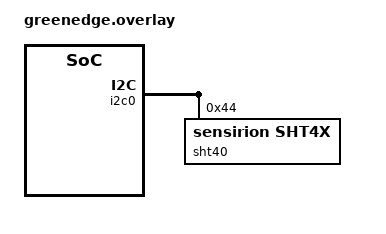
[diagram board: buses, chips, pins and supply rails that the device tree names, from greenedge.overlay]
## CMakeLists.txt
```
#set(BOARD esp32c6_devkitc)

cmake_minimum_required(VERSION 3.20.0)

set(BOARD esp32c6_devkitc/esp32c6/hpcore)

set(DTC_OVERLAY_FILE "${CMAKE_CURRENT_SOURCE_DIR}/greenedge.overlay")

find_package(Zephyr REQUIRED HINTS $ENV{ZEPHYR_BASE})
project(GreenEdge)

target_include_directories(app PRIVATE include)

# Selección de backend según Kconfig:
#   CONFIG_GREENEDGE_SENSOR_REAL=y  -> sensor_sht40.c (hardware real)
#   CONFIG_GREENEDGE_SENSOR_REAL=n  -> sensor.c       (simulado)
if(CONFIG_GREENEDGE_SENSOR_REAL)
    target_sources(app PRIVATE src/sensor_sht40.c)
else()
    target_sources(app PRIVATE src/sensor.c)
endif()

target_sources(app PRIVATE
    src/main.c
    src/sensor_thread.c
    src/shell_cmds.c
    src/wifi_manager.c
    src/wifi_shell_cmds.c
)
```

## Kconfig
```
mainmenu "GreenEdge"

source "Kconfig.zephyr"

menu "GreenEdge"

config GREENEDGE_SENSOR_REAL
    bool "Usar sensor SHT40 real via I2C"
    depends on I2C && SHT4X
    default n
    help
      Habilita la lectura real del sensor Sensirion SHT40 via I2C.
      Si está deshabilitado, se usa el backend simulado.

endmenu
```

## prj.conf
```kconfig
# =============================================================================
# GreenEdge — prj.conf
# =============================================================================

# -----------------------------------------------------------------------------
# Serial / Console
# -----------------------------------------------------------------------------
CONFIG_SERIAL=y
CONFIG_CONSOLE=y

# -----------------------------------------------------------------------------
# Shell
# -----------------------------------------------------------------------------
CONFIG_SHELL=y
CONFIG_LOG_CMDS=y

# -----------------------------------------------------------------------------
# Logging
# -----------------------------------------------------------------------------
CONFIG_LOG=y
CONFIG_SENSOR_LOG_LEVEL_DBG=y

# -----------------------------------------------------------------------------
# Sensors / 1-Wire
# -----------------------------------------------------------------------------
CONFIG_W1=y
CONFIG_SENSOR=y
CONFIG_GPIO=y

# --- I2C ---
CONFIG_I2C=y
CONFIG_I2C_LOG_LEVEL_ERR=y
 
# --- SHT4x driver (Sensirion SHT40/SHT41/SHT45) ---
CONFIG_SHT4X=y

CONFIG_GREENEDGE_SENSOR_REAL=y

# -----------------------------------------------------------------------------
# WiFi (ESP32-C6 native driver via hal_espressif)
# -----------------------------------------------------------------------------
CONFIG_WIFI=y
CONFIG_HEAP_MEM_POOL_SIZE=98304

# Networking stack
CONFIG_NETWORKING=y
CONFIG_NET_L2_WIFI_MGMT=y
CONFIG_NET_IPV4=y
CONFIG_NET_DHCPV4=y
CONFIG_NET_TCP=y
CONFIG_NET_UDP=y
CONFIG_NET_SOCKETS=y

# DNS
CONFIG_DNS_RESOLVER=y
CONFIG_DNS_SERVER_IP_ADDRESSES=y
CONFIG_DNS_SERVER1="8.8.8.8"

# Network management events (required for wifi_manager)
CONFIG_NET_MGMT=y
CONFIG_NET_MGMT_EVENT=y
CONFIG_NET_MGMT_EVENT_STACK_SIZE=1024

# Shell WiFi commands
CONFIG_NET_SHELL=y

# -----------------------------------------------------------------------------
# Settings API (persistent storage in flash)
# -----------------------------------------------------------------------------
CONFIG_SETTINGS=y
CONFIG_SETTINGS_NVS=y
CONFIG_NVS=y
CONFIG_FLASH=y
CONFIG_FLASH_MAP=y
CONFIG_MPU_ALLOW_FLASH_WRITE=y
```

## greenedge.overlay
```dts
/*
 * GreenEdge - Board overlay
 * SHT40 en I2C0 (GPIO6=SDA, GPIO7=SCL — coincide con el default del board)
 */

#include <zephyr/dt-bindings/i2c/i2c.h>

&i2c0 {
    sht40: sht4x@44 {
        compatible = "sensirion,sht4x";
        reg = <0x44>;
        repeatability = <2>;
    };
};
```

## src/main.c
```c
#include <zephyr/kernel.h>
#include <zephyr/logging/log.h>
#include "sensors.h"
#include "sensor_thread.h"
#include "wifi_manager.h"

LOG_MODULE_REGISTER(app, LOG_LEVEL_INF);

int main(void)
{
    LOG_INF("GreenEdge starting");

    sensor_thread_start();

        /* Initialize WiFi manager (loads credentials from flash) */
    int rc = wifi_manager_init();
    if (rc) {
        LOG_WRN("WiFi manager init failed: %d", rc);
    } else {
        /* Auto-connect if credentials exist */
        wifi_manager_connect();
    }

    return 0;
}
```

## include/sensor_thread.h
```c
/**
 * @file sensor_thread.h
 * @brief Sensor thread management interface
 */

#ifndef SENSOR_THREAD_H
#define SENSOR_THREAD_H

/**
 * @brief Start the sensor thread
 * 
 * Initializes and starts the sensor reading thread.
 * This thread will wait for trigger signals to perform readings.
 */
void sensor_thread_start(void);

/**
 * @brief Trigger a sensor reading
 * 
 * Signals the sensor thread to perform a new reading.
 * Non-blocking call.
 */
void sensor_thread_trigger(void);

/**
 * @brief Start periodic sensor readings
 * 
 * @param period_ms Period in milliseconds between readings
 */
void sensor_thread_start_periodic(uint32_t period_ms);

/**
 * @brief Stop periodic sensor readings
 */
void sensor_thread_stop_periodic(void);

#endif /* SENSOR_THREAD_H */
```

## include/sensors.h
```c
/**
 * @file sensors.h
 * @brief Sensor data management interface
 * 
 * This module provides thread-safe access to sensor data
 */

#ifndef SENSORS_H
#define SENSORS_H

#include <stdint.h>

/**
 * @brief Sensor data structure
 */
struct sensor_data {
    int temperature;  /**< Temperature in Celsius */
    int humidity;     /**< Humidity in percentage */
    bool    valid;        /**< true si la última lectura fue exitosa */
};

/**
 * @brief Initialize sensor subsystem
 * 
 * Must be called before any other sensor function
 */
int sensors_init(void);

/**
 * @brief Read current sensor values (simulated)
 * 
 * This function updates the internal sensor state.
 * Thread-safe when called from sensor thread.
 * 
 * @param data Pointer to sensor data structure to update
 */
int sensors_read(void);

/**
 * @brief Get current sensor values (thread-safe)
 * 
 * This function provides thread-safe access to sensor data
 * from any context (shell, other threads, etc.)
 * 
 * @param data Pointer to sensor data structure to fill
 */
void sensors_get(struct sensor_data *data);

/**
 * @brief Trigger a sensor reading
 * 
 * Wakes up the sensor thread to perform a new reading
 */
void sensors_trigger_read(void);

#endif /* SENSORS_H */
```

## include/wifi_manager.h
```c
/**
 * @file wifi_manager.h
 * @brief WiFi connection manager with persistent credentials
 */

#ifndef WIFI_MANAGER_H
#define WIFI_MANAGER_H

#include <stdint.h>
#include <stdbool.h>

#define WIFI_SSID_MAX_LEN   32
#define WIFI_PSK_MAX_LEN    64

/**
 * @brief WiFi manager connection states
 * Prefixed with MGR_ to avoid collision with Zephyr's wifi_iface_state enum
 */
enum wifi_manager_state {
    MGR_WIFI_DISCONNECTED,
    MGR_WIFI_CONNECTING,
    MGR_WIFI_CONNECTED,
    MGR_WIFI_ERROR,
};

int  wifi_manager_init(void);
int  wifi_manager_connect(void);
void wifi_manager_disconnect(void);
int  wifi_manager_set_credentials(const char *ssid, const char *psk);
enum wifi_manager_state wifi_manager_get_state(void);
bool wifi_manager_is_connected(void);

#endif /* WIFI_MANAGER_H */
```

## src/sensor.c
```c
/**
 * @file sensor.c
 * @brief Sensor data management implementation
 */

#include <zephyr/kernel.h>
#include <zephyr/logging/log.h>
#include "sensors.h"

LOG_MODULE_REGISTER(sensors, LOG_LEVEL_DBG);

/* Private data - only accessed through public API */
static struct sensor_data sensors;
static struct k_mutex sensors_mutex;

int sensors_init(void)
{
    k_mutex_init(&sensors_mutex);

    /* Initialize with default values */
    k_mutex_lock(&sensors_mutex, K_FOREVER);
    sensors.temperature = 20;
    sensors.humidity = 50;
    sensors.valid = false;
    k_mutex_unlock(&sensors_mutex);

    LOG_INF("Sensors initialized (T=%d, H=%d)", 
            sensors.temperature, sensors.humidity);
    return 0;
}

int sensors_read(void)
{
    /* Simulate sensor reading with incremental values */
    sensors.temperature += 1;
    sensors.humidity += 2;

    /* Wrap around to simulate realistic sensor behavior */
    if (sensors.temperature > 30) {
        sensors.temperature = 20;
    }

    if (sensors.humidity > 80) {
        sensors.humidity = 50;
    }
    sensors.valid = true;

    LOG_DBG("Sensor read: T=%d, H=%d", sensors.temperature, sensors.humidity);

    return 0;
}

int sensors_get(struct sensor_data *data)
{
    if (data == NULL) {
        LOG_ERR("NULL pointer passed to sensors_get");
        return;
    }

    k_mutex_lock(&sensors_mutex, K_FOREVER);
    data->temperature = sensors.temperature;
    data->humidity = sensors.humidity;
    data->valid = sensors.valid;
    k_mutex_unlock(&sensors_mutex);
}
```

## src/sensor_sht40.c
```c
/**
 * @file sensor_sht40.c
 * @brief Backend real para el sensor Sensirion SHT40 via I2C
 *
 * Implementa la interfaz de sensors.h usando el driver nativo
 * de Zephyr para la familia SHT4x (SHT40/SHT41/SHT45).
 *
 * Requiere en el devicetree:
 *   - &i2c0 habilitado con GPIO6=SDA, GPIO7=SCL
 *   - Nodo sht4x@44 con compatible = "sensirion,sht4x"
 *
 * Activado cuando CONFIG_GREENEDGE_SENSOR_REAL=y.
 */

#include <zephyr/kernel.h>
#include <zephyr/device.h>
#include <zephyr/drivers/sensor.h>
#include <zephyr/logging/log.h>
#include "sensors.h"

LOG_MODULE_REGISTER(sensor_sht40, LOG_LEVEL_DBG);

/* Estado compartido */
static struct sensor_data g_sensors;
static struct k_mutex     g_sensors_mutex;

/* Referencia al dispositivo SHT40 */
static const struct device *sht40_dev;

int sensors_init(void)
{
    k_mutex_init(&g_sensors_mutex);

    g_sensors.temperature = 0;
    g_sensors.humidity    = 0;
    g_sensors.valid       = false;

    sht40_dev = DEVICE_DT_GET_ANY(sensirion_sht4x);

    if (sht40_dev == NULL) {
        LOG_ERR("SHT40: no se encontró el dispositivo en el devicetree");
        return -ENODEV;
    }

    if (!device_is_ready(sht40_dev)) {
        LOG_ERR("SHT40: dispositivo '%s' no está listo", sht40_dev->name);
        return -ENODEV;
    }

    LOG_INF("SHT40 inicializado: %s", sht40_dev->name);
    return 0;
}

int sensors_read(void)
{
    struct sensor_value temp, hum;
    struct sensor_data local;
    int ret;

    ret = sensor_sample_fetch(sht40_dev);
    if (ret != 0) {
        LOG_ERR("SHT40: sensor_sample_fetch() falló: %d", ret);
        goto fail;
    }

    ret = sensor_channel_get(sht40_dev, SENSOR_CHAN_AMBIENT_TEMP, &temp);
    if (ret != 0) {
        LOG_ERR("SHT40: channel_get(TEMP) falló: %d", ret);
        goto fail;
    }

    ret = sensor_channel_get(sht40_dev, SENSOR_CHAN_HUMIDITY, &hum);
    if (ret != 0) {
        LOG_ERR("SHT40: channel_get(HUM) falló: %d", ret);
        goto fail;
    }

    /*
     * sensor_value: val1 = parte entera, val2 = parte fraccionaria en millonésimas
     * Convertimos a centidegrees: val1*100 + val2/10000
     * Ejemplo: {23, 500000} -> 2350 (23.50°C)
     */
    local.temperature = (int32_t)(temp.val1 * 100 + temp.val2 / 10000);
    local.humidity    = (int32_t)(hum.val1  * 100 + hum.val2  / 10000);
    local.valid       = true;

    k_mutex_lock(&g_sensors_mutex, K_FOREVER);
    g_sensors = local;
    k_mutex_unlock(&g_sensors_mutex);

    LOG_DBG("SHT40: T=%d.%02d°C  H=%d.%02d%%",
            local.temperature / 100, abs(local.temperature % 100),
            local.humidity    / 100, abs(local.humidity    % 100));

    return 0;

fail:
    k_mutex_lock(&g_sensors_mutex, K_FOREVER);
    g_sensors.valid = false;
    k_mutex_unlock(&g_sensors_mutex);

    return ret;
}

void sensors_get(struct sensor_data *data)
{
    if (data == NULL) {
        LOG_ERR("NULL pointer en sensors_get");
        return;
    }

    k_mutex_lock(&g_sensors_mutex, K_FOREVER);
    *data = g_sensors;
    k_mutex_unlock(&g_sensors_mutex);
}
```

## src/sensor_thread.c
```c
/**
 * @file sensor_thread.c
 * @brief Sensor thread implementation
 */

#include <zephyr/kernel.h>
#include <zephyr/logging/log.h>
#include <stdlib.h>
#include "sensors.h"
#include "sensor_thread.h"

LOG_MODULE_REGISTER(sensor_thread, LOG_LEVEL_INF);

#define SENSOR_STACK_SIZE 2048
#define SENSOR_PRIORITY   5

/* Thread control */
K_THREAD_STACK_DEFINE(sensor_stack, SENSOR_STACK_SIZE);
static struct k_thread sensor_thread_data;
static struct k_sem    sensor_sem;

/* Periodic reading control */
static struct k_timer sensor_timer;
static bool           periodic_enabled;

/* Forward declarations */
static void sensor_thread_entry(void *a, void *b, void *c);
static void sensor_timer_handler(struct k_timer *timer);

static void sensor_thread_entry(void *a, void *b, void *c)
{
    ARG_UNUSED(a);
    ARG_UNUSED(b);
    ARG_UNUSED(c);

    struct sensor_data local;
    int ret;

    LOG_INF("Sensor thread iniciado");

    while (1) {
        k_sem_take(&sensor_sem, K_FOREVER);

        ret = sensors_read();

        if (ret == 0) {
            sensors_get(&local);
            LOG_INF("T=%d.%02d°C  H=%d.%02d%%",
                    local.temperature / 100, abs(local.temperature % 100),
                    local.humidity    / 100, abs(local.humidity    % 100));
        } else {
            LOG_WRN("Error en lectura de sensores: %d", ret);
        }
    }
}

static void sensor_timer_handler(struct k_timer *timer)
{
    ARG_UNUSED(timer);

    if (periodic_enabled) {
        k_sem_give(&sensor_sem);
    }
}

void sensor_thread_start(void)
{
    LOG_INF("Inicializando sensor thread");

    int ret = sensors_init();
    if (ret != 0) {
        LOG_ERR("sensors_init() falló: %d - continuando en modo degradado", ret);
    }

    k_sem_init(&sensor_sem, 0, 1);
    k_timer_init(&sensor_timer, sensor_timer_handler, NULL);

    k_thread_create(
        &sensor_thread_data,
        sensor_stack,
        K_THREAD_STACK_SIZEOF(sensor_stack),
        sensor_thread_entry,
        NULL, NULL, NULL,
        SENSOR_PRIORITY,
        0,
        K_NO_WAIT
    );

    k_thread_name_set(&sensor_thread_data, "sensor");

    LOG_INF("Sensor thread listo");
}

void sensor_thread_trigger(void)
{
    k_sem_give(&sensor_sem);
}

void sensor_thread_start_periodic(uint32_t period_ms)
{
    if (period_ms < 1000) {
        LOG_WRN("El SHT40 necesita mínimo ~1000ms entre lecturas de alta repetibilidad");
        period_ms = 1000;
    }

    periodic_enabled = true;
    k_timer_start(&sensor_timer, K_MSEC(period_ms), K_MSEC(period_ms));
    LOG_INF("Lecturas periódicas: %u ms", period_ms);
}

void sensor_thread_stop_periodic(void)
{
    periodic_enabled = false;
    k_timer_stop(&sensor_timer);
    LOG_INF("Lecturas periódicas detenidas");
}
```

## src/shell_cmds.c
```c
/**
 * @file shell_cmds.c
 * @brief Shell command implementations
 */

#include <stdlib.h>
#include <zephyr/shell/shell.h>
#include <zephyr/kernel.h>
#include "sensors.h"
#include "sensor_thread.h"

static int cmd_data(const struct shell *sh, size_t argc, char **argv)
{
    ARG_UNUSED(argc);
    ARG_UNUSED(argv);

    struct sensor_data data;

    sensors_get(&data);

    shell_print(sh, "=== Sensor Data ===");

    if (!data.valid) {
        shell_warn(sh, "Datos aún no disponibles (esperando primera lectura)");
        return 0;
    }

    shell_print(sh, "Temperatura: %d.%02d °C",
                data.temperature / 100,
                abs(data.temperature % 100));
    shell_print(sh, "Humedad    : %d.%02d %%",
                data.humidity / 100,
                abs(data.humidity % 100));

    return 0;
}

static int cmd_read(const struct shell *sh, size_t argc, char **argv)
{
    ARG_UNUSED(argc);
    ARG_UNUSED(argv);

    sensor_thread_trigger();
    shell_print(sh, "Lectura disparada...");

    /* Dar tiempo al thread para completar la lectura */
    k_sleep(K_MSEC(200));

    return cmd_data(sh, 0, NULL);
}

static int cmd_status(const struct shell *sh, size_t argc, char **argv)
{
    ARG_UNUSED(argc);
    ARG_UNUSED(argv);

    shell_print(sh, "=== System Status ===");
    shell_print(sh, "Uptime: %lld ms", k_uptime_get());
    shell_print(sh, "Cycles: %llu",    k_cycle_get_64());

    return 0;
}

static int cmd_start_periodic(const struct shell *sh, size_t argc, char **argv)
{
    uint32_t period_ms = 5000; /* Default: 5 segundos (razonable para un invernadero) */

    if (argc > 1) {
        period_ms = (uint32_t)atoi(argv[1]);
        if (period_ms < 1000) {
            shell_error(sh, "Mínimo 1000 ms (limitación del SHT40 en modo alta repetibilidad)");
            return -EINVAL;
        }
    }

    sensor_thread_start_periodic(period_ms);
    shell_print(sh, "Lecturas periódicas iniciadas: %u ms", period_ms);

    return 0;
}

static int cmd_stop_periodic(const struct shell *sh, size_t argc, char **argv)
{
    ARG_UNUSED(argc);
    ARG_UNUSED(argv);

    sensor_thread_stop_periodic();
    shell_print(sh, "Lecturas periódicas detenidas");

    return 0;
}

/* Registro de comandos */
SHELL_CMD_REGISTER(data,  NULL, "Mostrar datos del sensor",              cmd_data);
SHELL_CMD_REGISTER(read,  NULL, "Forzar lectura del sensor",             cmd_read);
SHELL_CMD_REGISTER(status,NULL, "Estado del sistema",                    cmd_status);
SHELL_CMD_REGISTER(start, NULL, "Iniciar lecturas periódicas [ms]",      cmd_start_periodic);
SHELL_CMD_REGISTER(stop,  NULL, "Detener lecturas periódicas",           cmd_stop_periodic);
```

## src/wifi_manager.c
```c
/**
 * @file wifi_manager.c
 * @brief WiFi manager implementation
 *
 * Credentials stored under settings subtree "wifi":
 *   wifi/ssid  -> SSID string
 *   wifi/psk   -> Password string
 */

#include <zephyr/kernel.h>
#include <zephyr/logging/log.h>
#include <zephyr/net/net_if.h>
#include <zephyr/net/net_event.h>
#include <zephyr/net/wifi_mgmt.h>
#include <zephyr/settings/settings.h>
#include <string.h>
#include <errno.h>

#include "wifi_manager.h"

LOG_MODULE_REGISTER(wifi_manager, LOG_LEVEL_INF);

/* ------------------------------------------------------------------ */
/* Private state                                                        */
/* ------------------------------------------------------------------ */

static char stored_ssid[WIFI_SSID_MAX_LEN + 1];
static char stored_psk[WIFI_PSK_MAX_LEN + 1];

static enum wifi_manager_state state = MGR_WIFI_DISCONNECTED;
static struct net_mgmt_event_callback wifi_cb;
static struct net_mgmt_event_callback ipv4_cb;

static struct k_work_delayable reconnect_work;

/* ------------------------------------------------------------------ */
/* Settings backend                                                     */
/* ------------------------------------------------------------------ */

static int wifi_settings_set(const char *name, size_t len,
                              settings_read_cb read_cb, void *cb_arg)
{
    if (strcmp(name, "ssid") == 0) {
        if (len > WIFI_SSID_MAX_LEN) {
            LOG_WRN("Stored SSID too long, ignoring");
            return -EINVAL;
        }
        ssize_t rc = read_cb(cb_arg, stored_ssid, len);
        if (rc >= 0) {
            stored_ssid[rc] = '\0';
            LOG_INF("Loaded SSID: %s", stored_ssid);
        }
        return (rc >= 0) ? 0 : (int)rc;
    }

    if (strcmp(name, "psk") == 0) {
        if (len > WIFI_PSK_MAX_LEN) {
            LOG_WRN("Stored PSK too long, ignoring");
            return -EINVAL;
        }
        ssize_t rc = read_cb(cb_arg, stored_psk, len);
        if (rc >= 0) {
            stored_psk[rc] = '\0';
            LOG_DBG("Loaded PSK (len=%d)", (int)rc);
        }
        return (rc >= 0) ? 0 : (int)rc;
    }

    return -ENOENT;
}

SETTINGS_STATIC_HANDLER_DEFINE(wifi, "wifi", NULL, wifi_settings_set, NULL, NULL);

/* ------------------------------------------------------------------ */
/* Network event handlers                                               */
/* ------------------------------------------------------------------ */

static void handle_wifi_connect_result(struct net_mgmt_event_callback *cb)
{
    const struct wifi_status *status = (const struct wifi_status *)cb->info;

    if (status->conn_status == WIFI_STATUS_CONN_SUCCESS) {
        LOG_INF("WiFi connected to: %s", stored_ssid);
        state = MGR_WIFI_CONNECTED;
    } else {
        LOG_WRN("WiFi connection failed (status=%d), retrying in 5s...",
                status->conn_status);
        state = MGR_WIFI_ERROR;
        k_work_schedule(&reconnect_work, K_SECONDS(5));
    }
}

static void handle_wifi_disconnect_result(struct net_mgmt_event_callback *cb)
{
    const struct wifi_status *status = (const struct wifi_status *)cb->info;

    if (state == MGR_WIFI_CONNECTED) {
        /* disconn_reason is the correct field name in Zephyr v4.x */
        LOG_WRN("WiFi disconnected (reason=%d), reconnecting in 5s...",
                status->disconn_reason);
        state = MGR_WIFI_DISCONNECTED;
        k_work_schedule(&reconnect_work, K_SECONDS(5));
    } else {
        LOG_INF("WiFi disconnected");
        state = MGR_WIFI_DISCONNECTED;
    }
}

static void handle_ipv4_addr(struct net_mgmt_event_callback *cb)
{
    struct net_if *iface = net_if_get_default();
    if (!iface) {
        return;
    }

    struct net_if_ipv4 *ipv4 = iface->config.ip.ipv4;
    if (!ipv4) {
        return;
    }

    for (int i = 0; i < NET_IF_MAX_IPV4_ADDR; i++) {
        if (ipv4->unicast[i].ipv4.is_used) {
            char buf[NET_IPV4_ADDR_LEN];
            LOG_INF("IP address: %s",
                    net_addr_ntop(AF_INET,
                                  &ipv4->unicast[i].ipv4.address.in_addr,
                                  buf, sizeof(buf)));
            break;
        }
    }
}

/*
 * mgmt_event is uint64_t in Zephyr v4.x (net_mgmt_event_handler_t signature).
 * Using uint32_t caused incompatible-pointer-types warnings/errors.
 */
static void wifi_event_handler(struct net_mgmt_event_callback *cb,
                                uint64_t mgmt_event,
                                struct net_if *iface)
{
    ARG_UNUSED(iface);

    switch (mgmt_event) {
    case NET_EVENT_WIFI_CONNECT_RESULT:
        handle_wifi_connect_result(cb);
        break;
    case NET_EVENT_WIFI_DISCONNECT_RESULT:
        handle_wifi_disconnect_result(cb);
        break;
    default:
        break;
    }
}

static void ipv4_event_handler(struct net_mgmt_event_callback *cb,
                                uint64_t mgmt_event,
                                struct net_if *iface)
{
    ARG_UNUSED(iface);

    if (mgmt_event == NET_EVENT_IPV4_ADDR_ADD) {
        handle_ipv4_addr(cb);
    }
}

/* ------------------------------------------------------------------ */
/* Reconnect work handler                                               */
/* ------------------------------------------------------------------ */

static void reconnect_work_handler(struct k_work *work)
{
    ARG_UNUSED(work);
    LOG_INF("Attempting reconnect...");
    wifi_manager_connect();
}

/* ------------------------------------------------------------------ */
/* Public API                                                           */
/* ------------------------------------------------------------------ */

int wifi_manager_init(void)
{
    int rc;

    k_work_init_delayable(&reconnect_work, reconnect_work_handler);

    rc = settings_subsys_init();
    if (rc) {
        LOG_ERR("settings_subsys_init failed: %d", rc);
        return rc;
    }

    rc = settings_load_subtree("wifi");
    if (rc) {
        LOG_WRN("No WiFi settings found (first boot?)");
    }

    net_mgmt_init_event_callback(&wifi_cb, wifi_event_handler,
                                  NET_EVENT_WIFI_CONNECT_RESULT |
                                  NET_EVENT_WIFI_DISCONNECT_RESULT);
    net_mgmt_add_event_callback(&wifi_cb);

    net_mgmt_init_event_callback(&ipv4_cb, ipv4_event_handler,
                                  NET_EVENT_IPV4_ADDR_ADD);
    net_mgmt_add_event_callback(&ipv4_cb);

    LOG_INF("WiFi manager initialized");
    return 0;
}

int wifi_manager_connect(void)
{
    if (strlen(stored_ssid) == 0) {
        LOG_ERR("No SSID configured. Use: wifi set <ssid> <password>");
        return -ENOENT;
    }

    struct net_if *iface = net_if_get_default();
    if (!iface) {
        LOG_ERR("No network interface found");
        return -ENODEV;
    }

    struct wifi_connect_req_params params = {
        .ssid        = (const uint8_t *)stored_ssid,
        .ssid_length = strlen(stored_ssid),
        .psk         = (const uint8_t *)stored_psk,
        .psk_length  = strlen(stored_psk),
        .channel     = WIFI_CHANNEL_ANY,
        .security    = (strlen(stored_psk) > 0)
                       ? WIFI_SECURITY_TYPE_PSK
                       : WIFI_SECURITY_TYPE_NONE,
        .band        = WIFI_FREQ_BAND_2_4_GHZ,
        .mfp         = WIFI_MFP_OPTIONAL,
    };

    state = MGR_WIFI_CONNECTING;
    LOG_INF("Connecting to: %s", stored_ssid);

    int rc = net_mgmt(NET_REQUEST_WIFI_CONNECT, iface, &params, sizeof(params));
    if (rc) {
        LOG_ERR("Connection request failed: %d", rc);
        state = MGR_WIFI_ERROR;
        return rc;
    }

    return 0;
}

void wifi_manager_disconnect(void)
{
    struct net_if *iface = net_if_get_default();
    if (!iface) {
        return;
    }

    k_work_cancel_delayable(&reconnect_work);
    state = MGR_WIFI_DISCONNECTED;
    net_mgmt(NET_REQUEST_WIFI_DISCONNECT, iface, NULL, 0);
}

int wifi_manager_set_credentials(const char *ssid, const char *psk)
{
    if (!ssid || strlen(ssid) == 0) {
        return -EINVAL;
    }
    if (strlen(ssid) > WIFI_SSID_MAX_LEN) {
        LOG_ERR("SSID too long (max %d chars)", WIFI_SSID_MAX_LEN);
        return -EINVAL;
    }
    if (psk && strlen(psk) > WIFI_PSK_MAX_LEN) {
        LOG_ERR("PSK too long (max %d chars)", WIFI_PSK_MAX_LEN);
        return -EINVAL;
    }

    strncpy(stored_ssid, ssid, WIFI_SSID_MAX_LEN);
    stored_ssid[WIFI_SSID_MAX_LEN] = '\0';

    if (psk) {
        strncpy(stored_psk, psk, WIFI_PSK_MAX_LEN);
        stored_psk[WIFI_PSK_MAX_LEN] = '\0';
    } else {
        stored_psk[0] = '\0';
    }

    int rc = settings_save_one("wifi/ssid", stored_ssid, strlen(stored_ssid));
    if (rc) {
        LOG_ERR("Failed to save SSID: %d", rc);
        return rc;
    }

    rc = settings_save_one("wifi/psk", stored_psk, strlen(stored_psk));
    if (rc) {
        LOG_ERR("Failed to save PSK: %d", rc);
        return rc;
    }

    LOG_INF("Credentials saved for: %s", stored_ssid);
    return 0;
}

enum wifi_manager_state wifi_manager_get_state(void)
{
    return state;
}

bool wifi_manager_is_connected(void)
{
    return state == MGR_WIFI_CONNECTED;
}
```

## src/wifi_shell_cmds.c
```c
/**
 * @file wifi_shell_cmds.c
 * @brief WiFi shell commands
 */

#include <zephyr/kernel.h>
#include <zephyr/shell/shell.h>
#include <zephyr/net/net_if.h>
#include <zephyr/net/net_event.h>
#include <zephyr/net/wifi_mgmt.h>
#include "wifi_manager.h"

/* ------------------------------------------------------------------ */
/* Scan result handler                                                  */
/* ------------------------------------------------------------------ */

static struct net_mgmt_event_callback scan_cb;
static bool scan_in_progress = false;
static const struct shell *scan_shell_ref = NULL;

static void handle_scan_result(struct net_mgmt_event_callback *cb)
{
    const struct wifi_scan_result *entry =
        (const struct wifi_scan_result *)cb->info;

    if (!scan_shell_ref) {
        return;
    }

    if (entry->ssid_length == 0) {
        /* Empty SSID = scan complete sentinel in some drivers */
        return;
    }

    /* Security type label */
    const char *sec;
    switch (entry->security) {
    case WIFI_SECURITY_TYPE_NONE:    sec = "OPEN";     break;
    case WIFI_SECURITY_TYPE_PSK:     sec = "WPA2-PSK"; break;
    case WIFI_SECURITY_TYPE_PSK_SHA256: sec = "WPA2-PSK-SHA256"; break;
    case WIFI_SECURITY_TYPE_SAE:     sec = "WPA3-SAE"; break;
    default:                         sec = "UNKNOWN";  break;
    }

    /* Band label */
    const char *band;
    switch (entry->band) {
    case WIFI_FREQ_BAND_2_4_GHZ: band = "2.4G"; break;
    case WIFI_FREQ_BAND_5_GHZ:   band = "5G";   break;
    case WIFI_FREQ_BAND_6_GHZ:   band = "6G";   break;
    default:                     band = "?";    break;
    }

    shell_print(scan_shell_ref,
                "  %-32.*s  RSSI: %4d dBm  CH: %3d  %-4s  %s",
                entry->ssid_length, entry->ssid,
                entry->rssi,
                entry->channel,
                band,
                sec);
}

static void handle_scan_done(struct net_mgmt_event_callback *cb)
{
    ARG_UNUSED(cb);

    if (scan_shell_ref) {
        shell_print(scan_shell_ref, "Scan complete.");
    }

    scan_in_progress = false;
    scan_shell_ref   = NULL;
}

static void scan_event_handler(struct net_mgmt_event_callback *cb,
                                uint64_t mgmt_event,
                                struct net_if *iface)
{
    ARG_UNUSED(iface);

    switch (mgmt_event) {
    case NET_EVENT_WIFI_SCAN_RESULT:
        handle_scan_result(cb);
        break;
    case NET_EVENT_WIFI_SCAN_DONE:
        handle_scan_done(cb);
        break;
    default:
        break;
    }
}

/* ------------------------------------------------------------------ */
/* Shell commands                                                       */
/* ------------------------------------------------------------------ */

/**
 * Usage: wifi scan
 */
static int cmd_wifi_scan(const struct shell *sh, size_t argc, char **argv)
{
    ARG_UNUSED(argc);
    ARG_UNUSED(argv);

    if (scan_in_progress) {
        shell_warn(sh, "Scan already in progress, please wait...");
        return -EBUSY;
    }

    struct net_if *iface = net_if_get_default();
    if (!iface) {
        shell_error(sh, "No network interface found");
        return -ENODEV;
    }

    /* Register scan callbacks (lazy init — only once) */
    static bool scan_cb_registered = false;
    if (!scan_cb_registered) {
        net_mgmt_init_event_callback(&scan_cb, scan_event_handler,
                                      NET_EVENT_WIFI_SCAN_RESULT |
                                      NET_EVENT_WIFI_SCAN_DONE);
        net_mgmt_add_event_callback(&scan_cb);
        scan_cb_registered = true;
    }

    scan_in_progress = true;
    scan_shell_ref   = sh;

    shell_print(sh, "Scanning... (results appear below)");
    shell_print(sh, "  %-32s  %-14s  %-6s  %-4s  %s",
                "SSID", "RSSI", "CH", "BAND", "SECURITY");
    shell_print(sh, "  %s", "----------------------------------------------------------------");

    int rc = net_mgmt(NET_REQUEST_WIFI_SCAN, iface, NULL, 0);
    if (rc) {
        shell_error(sh, "Scan request failed: %d", rc);
        scan_in_progress = false;
        scan_shell_ref   = NULL;
        return rc;
    }

    return 0;
}

/**
 * Usage: wifi set <ssid> [password]
 */
static int cmd_wifi_set(const struct shell *sh, size_t argc, char **argv)
{
    if (argc < 2) {
        shell_error(sh, "Usage: wifi set <ssid> [password]");
        return -EINVAL;
    }

    int rc = wifi_manager_set_credentials(argv[1], (argc > 2) ? argv[2] : NULL);
    if (rc) {
        shell_error(sh, "Failed to save credentials: %d", rc);
        return rc;
    }

    shell_print(sh, "Credentials saved. Run 'wifi connect' to connect.");
    return 0;
}

/**
 * Usage: wifi connect
 */
static int cmd_wifi_connect(const struct shell *sh, size_t argc, char **argv)
{
    ARG_UNUSED(argc);
    ARG_UNUSED(argv);

    int rc = wifi_manager_connect();
    if (rc == -ENOENT) {
        shell_error(sh, "No credentials stored. Use: wifi set <ssid> [password]");
        return rc;
    }
    if (rc) {
        shell_error(sh, "Connection failed: %d", rc);
        return rc;
    }

    shell_print(sh, "Connecting... (check logs for IP address)");
    return 0;
}

/**
 * Usage: wifi disconnect
 */
static int cmd_wifi_disconnect(const struct shell *sh, size_t argc, char **argv)
{
    ARG_UNUSED(argc);
    ARG_UNUSED(argv);

    wifi_manager_disconnect();
    shell_print(sh, "Disconnected");
    return 0;
}

/**
 * Usage: wifi status
 */
static int cmd_wifi_status(const struct shell *sh, size_t argc, char **argv)
{
    ARG_UNUSED(argc);
    ARG_UNUSED(argv);

    static const char * const state_str[] = {
        "DISCONNECTED",
        "CONNECTING",
        "CONNECTED",
        "ERROR",
    };

    shell_print(sh, "=== WiFi Status ===");
    shell_print(sh, "State: %s", state_str[wifi_manager_get_state()]);
    return 0;
}

/* ------------------------------------------------------------------ */
/* Command registration                                                 */
/* ------------------------------------------------------------------ */

SHELL_STATIC_SUBCMD_SET_CREATE(wifi_cmds,
    SHELL_CMD(scan,       NULL, "Scan for nearby networks",
              cmd_wifi_scan),
    SHELL_CMD_ARG(set,    NULL, "Save credentials: wifi set <ssid> [pass]",
                  cmd_wifi_set, 2, 1),
    SHELL_CMD(connect,    NULL, "Connect using stored credentials",
              cmd_wifi_connect),
    SHELL_CMD(disconnect, NULL, "Disconnect from WiFi",
              cmd_wifi_disconnect),
    SHELL_CMD(status,     NULL, "Show connection status",
              cmd_wifi_status),
    SHELL_SUBCMD_SET_END
);

SHELL_CMD_REGISTER(wifi, &wifi_cmds, "WiFi management", NULL);
```
